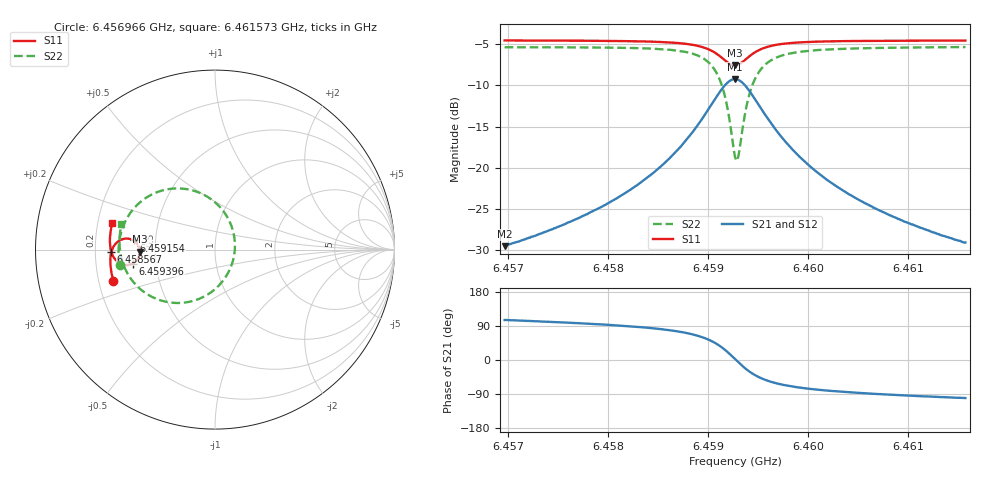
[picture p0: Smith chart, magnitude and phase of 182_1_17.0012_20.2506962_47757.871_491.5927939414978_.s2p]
#  HZ  S  RI  R  50.00
! Rohde & Schwarz Vector Network Analyzer
! Rohde-Schwarz,ZNB20-2Port,1311601062101988,3.16
! Created: UTC 3/20/2024, 11:00:11 PM
! freq[Hz]  re:S11  im:S11  re:S21  im:S21  re:S12  im:S12  re:S22  im:S22
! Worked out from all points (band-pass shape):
!   401 points, 6.456966 GHz to 6.461573 GHz, reference 50 ohm
!   highest |S21| = -9.24 dB at 6.459269 GHz (marker M1); lowest = -29.5 dB at 6.456966 GHz (marker M2)
!   |S21| within 3 dB of the highest: 6.459038 GHz to 6.4595 GHz (461 kHz wide, 0.00714 % of centre)
!   lowest |S11| = -7.6 dB at 6.459269 GHz (marker M3), VSWR 2.44, Z = 20.5 - j0.598 ohm
!   |S11| at or under -10 dB: nowhere
!   |S22| runs from -19.1 to -5.4 dB; largest |S21 - S12| = 0.013
!   S11 on the Smith chart (normalised r, x): 6.456966 GHz: 0.26, -0.14; 6.458567 GHz: 0.27, -0.01; 6.459154 GHz: 0.37, +0.05; 6.459396 GHz: 0.37, -0.07; 6.461573 GHz: 0.26, +0.12
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6.456966e9  -0.5659 -0.1744  -0.00892 0.0323  -0.00731 0.0323  -0.5314 -0.0879
6.4577376e9  -0.5803 -0.1069  -0.00583 0.0504  -0.0033 0.0498  -0.5372 0.00214
6.4581407e9  -0.5833 -0.0668  -0.000485 0.0684  0.00266 0.0672  -0.5303 0.0654
6.4585092e9  -0.5796 -0.023  0.0138 0.0988  0.0178 0.096  -0.5045 0.1475
6.4585668e9  -0.5779 -0.0149  0.0181 0.1056  0.0222 0.1026  -0.4965 0.164
6.4587741e9  -0.565 0.0171  0.0455 0.1381  0.0495 0.1333  -0.4453 0.237
6.4589238e9  -0.5423 0.0436  0.0905 0.1689  0.0939 0.1621  -0.3621 0.3018
6.459062e9  -0.4984 0.0612  0.1778 0.1856  0.1788 0.1783  -0.2032 0.3409
6.4591542e9  -0.4538 0.051  0.2678 0.1546  0.268 0.1488  -0.0367 0.2911
6.4592233e9  -0.4246 0.0191  0.3284 0.0829  0.3305 0.0776  0.0787 0.1622
6.4592693e9  -0.4178 -0.012  0.3446 0.0151  0.3484 0.00819  0.1109 0.0355
6.4592809e9  -0.4182 -0.0201  0.3446 -0.00272  0.3485 -0.0103  0.1107 0.00195
6.4593039e9  -0.4217 -0.0357  0.3392 -0.0375  0.3429 -0.0465  0.0998 -0.0635
6.45935e9  -0.4372 -0.0619  0.3107 -0.0972  0.3129 -0.1089  0.0422 -0.1764
6.459396e9  -0.4593 -0.0781  0.2688 -0.1381  0.2681 -0.1514  -0.0423 -0.251
6.4594882e9  -0.5026 -0.0849  0.1843 -0.1694  0.1784 -0.1809  -0.2103 -0.2975
6.4596379e9  -0.5463 -0.0645  0.0965 -0.156  0.0882 -0.1621  -0.3773 -0.2486
6.4597991e9  -0.5681 -0.037  0.0519 -0.1283  0.0443 -0.1309  -0.4576 -0.1772
6.460041e9  -0.581 -0.00146  0.0227 -0.0968  0.0168 -0.0975  -0.5057 -0.0951
6.4603865e9  -0.5856 0.0396  0.00653 -0.0703  0.00245 -0.0698  -0.5275 -0.0162
6.4608126e9  -0.5839 0.0823  -0.00127 -0.0517  -0.00419 -0.0509  -0.5321 0.0518
6.4615727e9  -0.5719 0.1498  -0.00637 -0.0347  -0.00804 -0.0336  -0.5211 0.1414
